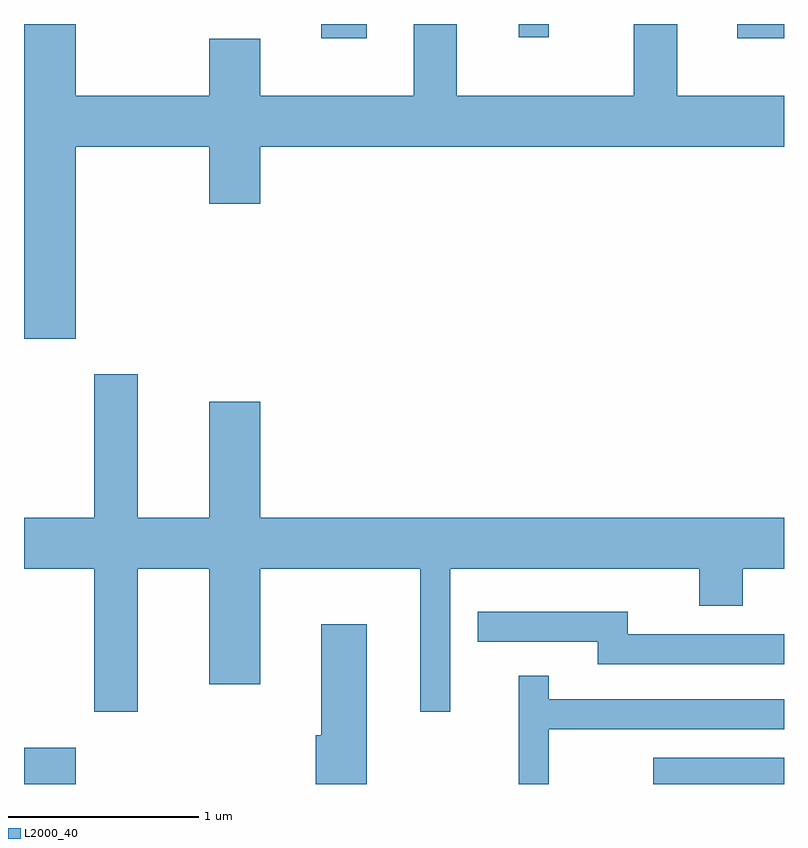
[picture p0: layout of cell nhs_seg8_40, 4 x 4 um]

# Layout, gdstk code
import gdstk
lib = gdstk.Library(unit=1e-6, precision=1e-09)
def R(c, l, rs):  # rectangles x0, y0, x1, y1
    for r in rs: c.add(gdstk.rectangle(r[:2], r[2:], *l))
def P(c, l, *ps):  # polygons
    for p in ps: c.add(gdstk.Polygon(p, *l))
L2000_40 = (2000, 40)

nhs_seg8_40 = lib.new_cell('nhs_seg8_40')
R(nhs_seg8_40, L2000_40, [(185.611,1886.342,185.884,1886.534), (188.923,1886.342,189.611,1886.479), (187.176,1890.266,187.414,1890.342), (189.366,1890.266,189.611,1890.342), (188.216,1890.273,188.374,1890.342)])
P(nhs_seg8_40, L2000_40, [(185.884,1889.696),(186.586,1889.696),(186.586,1889.396),(186.854,1889.396),(186.854,1889.696),(189.611,1889.696),(189.611,1889.964),(189.049,1889.964),(189.049,1890.342),(188.821,1890.342),(188.821,1889.964),(187.889,1889.964),(187.889,1890.342),(187.661,1890.342),(187.661,1889.964),(186.854,1889.964),(186.854,1890.264),(186.586,1890.264),(186.586,1889.964),(185.884,1889.964),(185.884,1890.342),(185.611,1890.342),(185.611,1888.686),(185.884,1888.686)],
  [(186.209,1887.476),(186.586,1887.476),(186.586,1886.866),(186.854,1886.866),(186.854,1887.476),(187.696,1887.476),(187.696,1886.723),(187.854,1886.723),(187.854,1887.476),(189.166,1887.476),(189.166,1887.281),(189.394,1887.281),(189.394,1887.476),(189.611,1887.476),(189.611,1887.744),(186.854,1887.744),(186.854,1888.354),(186.586,1888.354),(186.586,1887.744),(186.209,1887.744),(186.209,1888.499),(185.981,1888.499),(185.981,1887.744),(185.611,1887.744),(185.611,1887.476),(185.981,1887.476),(185.981,1886.721),(186.209,1886.721)],
  [(189.611,1887.129),(188.789,1887.129),(188.789,1887.249),(187.998,1887.249),(187.998,1887.091),(188.631,1887.091),(188.631,1886.971),(189.611,1886.971)],
  [(187.414,1887.184),(187.176,1887.184),(187.176,1886.599),(187.146,1886.599),(187.146,1886.342),(187.414,1886.342)],
  [(188.374,1886.631),(189.611,1886.631),(189.611,1886.789),(188.374,1886.789),(188.374,1886.913),(188.216,1886.913),(188.216,1886.342),(188.374,1886.342)])

lib.write_gds('nhs_seg8_40.gds')
